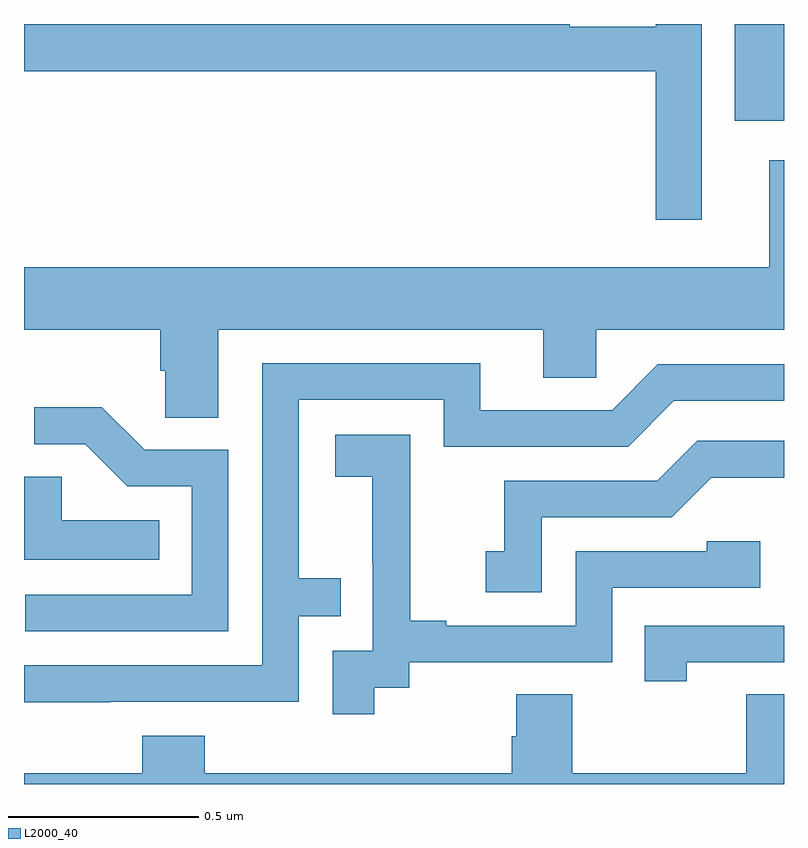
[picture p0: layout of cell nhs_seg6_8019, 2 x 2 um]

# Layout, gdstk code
import gdstk
lib = gdstk.Library(unit=1e-6, precision=1e-09)
def R(c, l, rs):  # rectangles x0, y0, x1, y1
    for r in rs: c.add(gdstk.rectangle(r[:2], r[2:], *l))
def P(c, l, *ps):  # polygons
    for p in ps: c.add(gdstk.Polygon(p, *l))
L2000_40 = (2000, 40)

nhs_seg6_8019 = lib.new_cell('nhs_seg6_8019')
R(nhs_seg6_8019, L2000_40, [(217.871,921.245,218,921.499)])
P(nhs_seg6_8019, L2000_40, [(217.783,921.5),(217.662,921.5),(217.662,921.493),(217.436,921.493),(217.436,921.5),(216,921.5),(216,921.376),(217.662,921.376),(217.662,920.985),(217.783,920.985)],
  [(216.511,920.696),(217.367,920.696),(217.367,920.569),(217.506,920.569),(217.506,920.696),(218,920.696),(218,921.142),(217.961,921.142),(217.961,920.86),(216,920.86),(216,920.696),(216.359,920.696),(216.359,920.587),(216.372,920.587),(216.372,920.464),(216.511,920.464)],
  [(216.227,919.716),(216.723,919.716),(216.723,919.941),(216.833,919.941),(216.833,920.042),(216.723,920.042),(216.723,920.511),(217.104,920.511),(217.104,920.388),(217.59,920.388),(217.71,920.508),(218,920.508),(218,920.604),(217.668,920.604),(217.548,920.484),(217.201,920.484),(217.201,920.607),(216.627,920.607),(216.627,919.812),(216,919.812),(216,919.715),(216.227,919.715)],
  [(216.537,920.379),(216.318,920.379),(216.205,920.492),(216.027,920.492),(216.027,920.394),(216.161,920.394),(216.272,920.283),(216.441,920.283),(216.441,919.998),(216.003,919.998),(216.003,919.902),(216.537,919.902)],
  [(216.922,919.753),(217.014,919.753),(217.014,919.821),(217.548,919.821),(217.548,920.016),(217.937,920.016),(217.937,920.139),(217.797,920.139),(217.797,920.112),(217.452,920.112),(217.452,919.917),(217.111,919.917),(217.111,919.93),(217.016,919.93),(217.016,920.213),(217.017,920.213),(217.017,920.419),(216.819,920.419),(216.819,920.309),(216.917,920.309),(216.917,920.081),(216.918,920.081),(216.918,919.851),(216.813,919.851),(216.813,919.683),(216.922,919.683)],
  [(217.362,920.202),(217.704,920.202),(217.808,920.306),(218,920.306),(218,920.403),(217.772,920.403),(217.667,920.298),(217.264,920.298),(217.264,920.113),(217.215,920.113),(217.215,920.004),(217.362,920.004)],
  [(216.356,920.194),(216.099,920.194),(216.099,920.309),(216,920.309),(216,920.09),(216.356,920.09)],
  [(217.744,919.821),(218,919.821),(218,919.917),(217.633,919.917),(217.633,919.77),(217.744,919.77)],
  [(218,919.736),(217.9,919.736),(217.9,919.528),(217.443,919.528),(217.443,919.736),(217.295,919.736),(217.295,919.626),(217.283,919.626),(217.283,919.528),(216.476,919.528),(216.476,919.627),(216.311,919.627),(216.311,919.528),(216,919.528),(216,919.5),(218,919.5)])

lib.write_gds('nhs_seg6_8019.gds')
